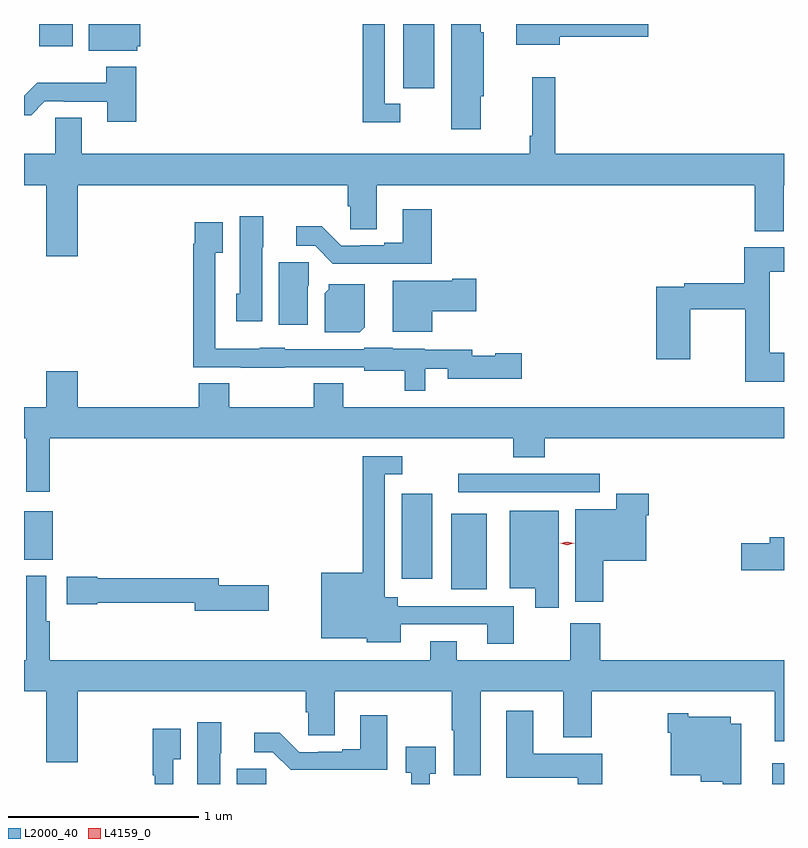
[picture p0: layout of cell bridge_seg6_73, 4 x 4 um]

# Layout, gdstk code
import gdstk
lib = gdstk.Library(unit=1e-6, precision=1e-09)
def R(c, l, rs):  # rectangles x0, y0, x1, y1
    for r in rs: c.add(gdstk.rectangle(r[:2], r[2:], *l))
def P(c, l, *ps):  # polygons
    for p in ps: c.add(gdstk.Polygon(p, *l))
L2000_40 = (2000, 40)
L4159_0 = (4159, 0)

bridge_seg6_73 = lib.new_cell('bridge_seg6_73')
R(bridge_seg6_73, L2000_40, [(825.35,937.524,825.506,937.605), (828.167,937.524,828.23,937.633), (826.478,938.549,826.666,938.947), (826.217,938.604,826.378,939.052), (824.23,938.705,824.38,938.959), (826.515,939.06,827.26,939.156), (826.226,941.187,826.39,941.524), (824.31,941.408,824.487,941.524)])
P(bridge_seg6_73, L2000_40, [(824.826,941.406),(824.842,941.406),(824.842,941.524),(824.693,941.524),(824.693,941.522),(824.572,941.522),(824.572,941.384),(824.826,941.384)],
  [(827.05,941.456),(827.515,941.456),(827.515,941.524),(826.82,941.524),(826.82,941.414),(827.05,941.414)],
  [(826.633,941.145),(826.651,941.145),(826.651,941.481),(826.633,941.481),(826.633,941.524),(826.478,941.524),(826.478,940.971),(826.633,940.971)],
  [(826.21,941.103),(826.128,941.103),(826.128,941.524),(826.012,941.524),(826.012,941.006),(826.21,941.006)],
  [(824.822,941.299),(824.662,941.299),(824.662,941.215),(824.299,941.215),(824.23,941.146),(824.23,941.045),(824.267,941.045),(824.34,941.118),(824.44,941.118),(824.44,941.115),(824.669,941.115),(824.669,941.01),(824.822,941.01)],
  [(824.512,940.676),(825.935,940.676),(825.935,940.566),(825.948,940.566),(825.948,940.444),(826.087,940.444),(826.087,940.676),(828.077,940.676),(828.077,940.433),(828.229,940.433),(828.229,940.676),(828.23,940.676),(828.23,940.84),(827.027,940.84),(827.027,941.245),(826.906,941.245),(826.906,940.936),(826.891,940.936),(826.891,940.84),(824.533,940.84),(824.533,941.03),(824.394,941.03),(824.394,940.84),(824.23,940.84),(824.23,940.676),(824.348,940.676),(824.348,940.302),(824.512,940.302)],
  [(826.376,940.549),(826.223,940.549),(826.223,940.372),(826.127,940.372),(826.127,940.359),(826,940.359),(826,940.356),(825.9,940.356),(825.798,940.459),(825.663,940.459),(825.663,940.356),(825.762,940.356),(825.856,940.262),(826.376,940.262)],
  [(825.484,940.35),(825.49,940.35),(825.49,940.513),(825.365,940.513),(825.365,940.104),(825.347,940.104),(825.347,939.96),(825.484,939.96)],
  [(826.341,939.71),(826.46,939.71),(826.46,939.656),(826.849,939.656),(826.849,939.791),(826.71,939.791),(826.71,939.778),(826.588,939.778),(826.588,939.809),(826.338,939.809),(826.338,939.814),(826.17,939.814),(826.17,939.82),(826.02,939.82),(826.02,939.813),(825.603,939.813),(825.603,939.82),(825.471,939.82),(825.471,939.814),(825.237,939.814),(825.237,940.319),(825.277,940.319),(825.277,940.48),(825.129,940.48),(825.129,940.367),(825.121,940.367),(825.121,939.717),(825.371,939.717),(825.371,939.716),(825.603,939.716),(825.603,939.717),(826.02,939.717),(826.02,939.698),(826.233,939.698),(826.233,939.593),(826.341,939.593)],
  [(828.23,939.793),(828.154,939.793),(828.154,940.22),(828.23,940.22),(828.23,940.348),(828.02,940.348),(828.02,940.16),(827.704,940.16),(827.704,940.14),(827.558,940.14),(827.558,939.759),(827.736,939.759),(827.736,940.024),(828.025,940.024),(828.025,939.641),(828.23,939.641)],
  [(825.724,940.146),(825.728,940.146),(825.728,940.269),(825.572,940.269),(825.572,939.942),(825.724,939.942)],
  [(826.378,940.013),(826.609,940.013),(826.609,940.184),(826.485,940.184),(826.485,940.174),(826.172,940.174),(826.172,939.905),(826.378,939.905)],
  [(826.024,939.928),(826.024,940.153),(825.834,940.153),(825.834,940.128),(825.812,940.106),(825.812,939.902),(825.998,939.902)],
  [(824.365,939.344),(826.805,939.344),(826.805,939.245),(826.97,939.245),(826.97,939.344),(828.23,939.344),(828.23,939.508),(825.909,939.508),(825.909,939.632),(825.754,939.632),(825.754,939.508),(825.309,939.508),(825.309,939.632),(825.149,939.632),(825.149,939.508),(824.512,939.508),(824.512,939.697),(824.348,939.697),(824.348,939.508),(824.23,939.508),(824.23,939.344),(824.243,939.344),(824.243,939.063),(824.365,939.063)],
  [(826.807,938.46),(826.198,938.46),(826.198,938.506),(826.128,938.506),(826.128,939.153),(826.222,939.153),(826.222,939.249),(826.012,939.249),(826.012,938.635),(825.794,938.635),(825.794,938.291),(826.035,938.291),(826.035,938.27),(826.213,938.27),(826.213,938.364),(826.667,938.364),(826.667,938.262),(826.807,938.262)],
  [(827.279,938.699),(827.506,938.699),(827.506,938.939),(827.519,938.939),(827.519,939.052),(827.348,939.052),(827.348,938.971),(827.132,938.971),(827.132,938.484),(827.279,938.484)],
  [(827.044,938.962),(826.787,938.962),(826.787,938.555),(826.922,938.555),(826.922,938.451),(827.044,938.451)],
  [(828.23,938.822),(828.155,938.822),(828.155,938.792),(828.006,938.792),(828.006,938.65),(828.23,938.65)],
  [(826.633,938.012),(827.069,938.012),(827.069,937.769),(827.217,937.769),(827.217,938.012),(828.181,938.012),(828.181,937.749),(828.23,937.749),(828.23,938.176),(827.264,938.176),(827.264,938.371),(827.104,938.371),(827.104,938.176),(826.507,938.176),(826.507,938.275),(826.367,938.275),(826.367,938.176),(824.365,938.176),(824.365,938.381),(824.347,938.381),(824.347,938.62),(824.243,938.62),(824.243,938.176),(824.23,938.176),(824.23,938.012),(824.348,938.012),(824.348,937.638),(824.512,937.638),(824.512,938.012),(825.713,938.012),(825.713,937.902),(825.726,937.902),(825.726,937.78),(825.865,937.78),(825.865,938.012),(826.481,938.012),(826.481,937.807),(826.493,937.807),(826.493,937.571),(826.633,937.571)],
  [(825.517,938.57),(825.256,938.57),(825.256,938.606),(824.616,938.606),(824.616,938.614),(824.454,938.614),(824.454,938.47),(824.616,938.47),(824.616,938.478),(825.128,938.478),(825.128,938.435),(825.517,938.435)],
  [(827.274,937.684),(826.909,937.684),(826.909,937.909),(826.769,937.909),(826.769,937.556),(827.144,937.556),(827.144,937.524),(827.274,937.524)],
  [(828.004,937.84),(827.95,937.84),(827.95,937.879),(827.727,937.879),(827.727,937.897),(827.619,937.897),(827.619,937.793),(827.633,937.793),(827.633,937.571),(827.792,937.571),(827.792,937.535),(827.907,937.535),(827.907,937.524),(828.004,937.524)],
  [(826.141,937.885),(826.001,937.885),(826.001,937.708),(825.905,937.708),(825.905,937.695),(825.778,937.695),(825.778,937.692),(825.678,937.692),(825.576,937.795),(825.441,937.795),(825.441,937.692),(825.54,937.692),(825.635,937.598),(826.141,937.598)],
  [(825.262,937.686),(825.268,937.686),(825.268,937.849),(825.143,937.849),(825.143,937.524),(825.262,937.524)],
  [(825.015,937.655),(825.055,937.655),(825.055,937.816),(824.907,937.816),(824.907,937.571),(824.919,937.571),(824.919,937.524),(825.015,937.524)],
  [(826.365,937.577),(826.396,937.577),(826.396,937.719),(826.238,937.719),(826.238,937.582),(826.269,937.582),(826.269,937.524),(826.365,937.524)])
P(bridge_seg6_73, L4159_0, [(827.088,938.78),(827.052,938.79),(827.052,938.79),(827.052,938.79),(827.088,938.8),(827.124,938.79),(827.125,938.79),(827.124,938.79)])

lib.write_gds('bridge_seg6_73.gds')
